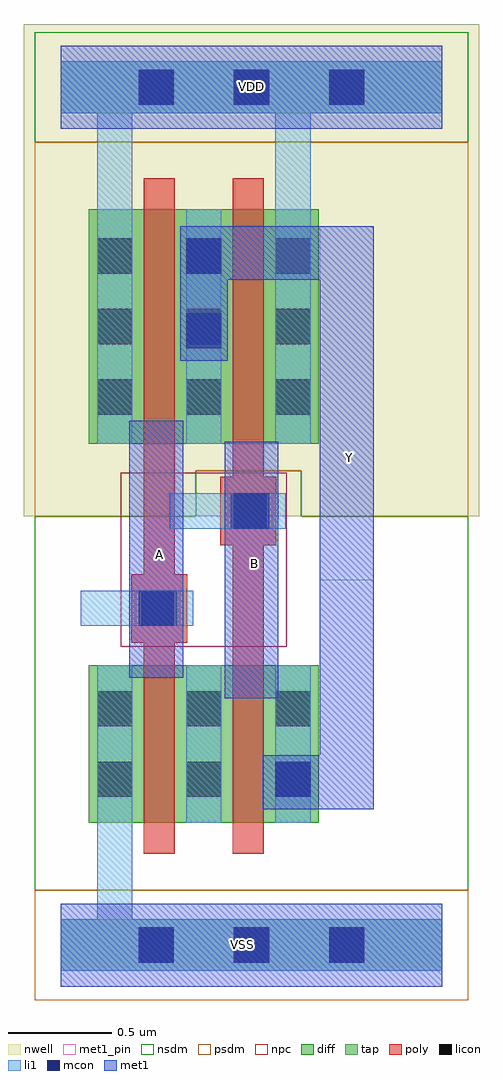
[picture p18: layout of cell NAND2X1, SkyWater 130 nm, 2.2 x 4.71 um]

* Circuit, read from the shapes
.subckt NAND2X1 A B VDD VSS Y
XM1 n1 A VSS VSS sky130_fd_pr__nfet_01v8 w=0.76 l=0.15
XM2 Y B n1 VSS sky130_fd_pr__nfet_01v8 w=0.76 l=0.15
XM3 Y A VDD VDD sky130_fd_pr__pfet_01v8 w=1.13 l=0.15
XM4 VDD B Y VDD sky130_fd_pr__pfet_01v8 w=1.13 l=0.15
.ends

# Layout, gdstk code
from math import pi, radians
import gdstk
lib = gdstk.Library(unit=1e-6, precision=1e-09)
def R(c, l, rs):  # rectangles x0, y0, x1, y1
    for r in rs: c.add(gdstk.rectangle(r[:2], r[2:], *l))
def A(c, l, x, y, w, h, nx, ny, dx, dy):  # array of equal rectangles
    R(c, l, [(x+i*dx, y+j*dy, x+i*dx+w, y+j*dy+h) for i in range(nx) for j in range(ny)])
def P(c, l, *ps):  # polygons
    for p in ps: c.add(gdstk.Polygon(p, *l))
nwell = (64, 20)
diff = (65, 20)
tap = (65, 44)
poly = (66, 20)
licon = (66, 44)
li1 = (67, 20)
mcon = (67, 44)
met1_pin = (68, 16)
met1 = (68, 20)
nsdm = (93, 44)
psdm = (94, 20)
npc = (95, 20)

l1m1_c_cdns_750710154092 = lib.new_cell('L1M1_C_CDNS_7507101540921')
R(l1m1_c_cdns_750710154092, li1, [(-0.085,-0.165,0.085,0.165)])
R(l1m1_c_cdns_750710154092, mcon, [(-0.085,-0.085,0.085,0.085)])
R(l1m1_c_cdns_750710154092, met1, [(-0.145,-0.145,0.115,0.115)])

l1m1_c_cdns_750710154094 = lib.new_cell('L1M1_C_CDNS_750710154094')
R(l1m1_c_cdns_750710154094, li1, [(-0.085,-0.345,0.085,0.345)])
R(l1m1_c_cdns_750710154094, mcon, [(-0.085,-0.265,0.085,-0.095), (-0.085,0.095,0.085,0.265)])
R(l1m1_c_cdns_750710154094, met1, [(-0.115,-0.325,0.115,0.325)])

pyl1con_c_cdns_750710154 = lib.new_cell('PYL1CON_C_CDNS_750710154092')
R(pyl1con_c_cdns_750710154, poly, [(-0.135,-0.165,0.135,0.165)])
R(pyl1con_c_cdns_750710154, licon, [(-0.085,-0.085,0.085,0.085)])
R(pyl1con_c_cdns_750710154, npc, [(-0.185,-0.185,0.185,0.185)])

l1m1_c_cdns_750710154090 = lib.new_cell('L1M1_C_CDNS_750710154090')
R(l1m1_c_cdns_750710154090, li1, [(-0.165,-0.085,0.165,0.085)])
R(l1m1_c_cdns_750710154090, mcon, [(-0.085,-0.085,0.085,0.085)])
R(l1m1_c_cdns_750710154090, met1, [(-0.115,-0.145,0.115,0.145)])

nand2x1 = lib.new_cell('NAND2X1')
R(nand2x1, nwell, [(-0.18,2.07,2.02,4.305), (-0.045,2.24,0.955,3.73), (0.595,2.24,1.425,3.73), (-0.18,3.875,2.02,4.445)])
R(nand2x1, diff, [(0.135,0.59,0.4,1.35), (0.4,0.59,0.55,1.35), (0.55,0.59,0.775,1.35), (0.775,0.59,0.83,1.35), (0.83,0.59,0.98,1.35), (0.98,0.59,1.245,1.35), (0.135,2.42,0.4,3.55), (0.4,2.42,0.55,3.55), (0.55,2.42,0.775,3.55), (0.775,2.42,0.83,3.55), (0.83,2.42,0.98,3.55), (0.98,2.42,1.245,3.55)])
R(nand2x1, poly, [(0.4,0.44,0.55,0.495), (0.83,0.44,0.98,0.495), (0.4,0.495,0.55,0.59), (0.83,0.495,0.98,0.59), (0.4,0.59,0.55,1.35), (0.83,0.59,0.98,1.35), (0.4,1.35,0.55,1.445), (0.83,1.35,0.98,1.445), (0.4,1.445,0.55,1.5), (0.83,1.445,0.98,1.5), (0.4,2.27,0.55,2.325), (0.83,2.27,0.98,2.325), (0.4,2.325,0.55,2.42), (0.83,2.325,0.98,2.42), (0.4,2.42,0.55,3.55), (0.83,2.42,0.98,3.55), (0.4,3.55,0.55,3.645), (0.83,3.55,0.98,3.645), (0.4,3.645,0.55,3.7), (0.83,3.645,0.98,3.7)])
A(nand2x1, licon, 0.375, -0.085, 0.17, 0.17, 3, 2, 0.46, 4.14)
A(nand2x1, licon, 0.175, 0.715, 0.17, 0.17, 3, 2, 0.43, 0.34)
A(nand2x1, licon, 0.175, 2.56, 0.17, 0.17, 3, 3, 0.43, 0.34)
A(nand2x1, li1, 0.175, 2.42, 0.17, 1.13, 3, 1, 0.43, 0)
R(nand2x1, li1, [(0.175,0.59,0.345,1.35), (1.035,0.59,1.205,1.35)])
A(nand2x1, mcon, 0.375, -0.085, 0.17, 0.17, 3, 2, 0.46, 4.14)
R(nand2x1, met1_pin, [(0.79,1.19,1.05,2.43), (0.33,1.29,0.59,2.53), (1.25,1.76,1.51,3.47)])
R(nand2x1, nsdm, [(-0.005,0.46,0.785,1.48), (0.765,0.46,1.385,1.48), (-0.125,3.875,1.965,4.405), (-0.125,3.93,1.965,4.35)])
P(nand2x1, nsdm, [(1.965,2.07),(1.16,2.07),(1.16,2.29),(0.65,2.29),(0.65,2.07),(-0.125,2.07),(-0.125,0.265),(1.965,0.265)])
R(nand2x1, psdm, [(-0.125,-0.265,1.965,0.265), (-0.125,-0.21,1.965,0.21), (-0.005,2.29,0.785,3.68), (0.765,2.29,1.385,3.68)])
P(nand2x1, psdm, [(1.965,3.875),(-0.125,3.875),(-0.125,2.07),(0.65,2.07),(0.65,2.29),(1.16,2.29),(1.16,2.07),(1.965,2.07)])
R(nand2x1, npc, [(0.29,1.44,1.09,2.28)])
nand2x1.add(gdstk.FlexPath([(0.905,2.27),(0.905,1.5)], 0.15, ends="flush", simple_path=True, layer=66, datatype=20))  # poly
nand2x1.add(gdstk.FlexPath([(0.475,1.5),(0.475,2.27)], 0.15, ends="flush", simple_path=True, layer=66, datatype=20))  # poly
nand2x1.add(gdstk.FlexPath([(0.69,1.35),(0.69,0.59)], 0.17, ends="flush", simple_path=True, layer=67, datatype=20))  # li1
nand2x1.add(gdstk.FlexPath([(0,0),(1.84,0)], 0.25, ends="flush", simple_path=True, layer=67, datatype=20))  # li1
nand2x1.add(gdstk.FlexPath([(0.26,0),(0.215,0)], 0.17, ends=(0.085, 0), simple_path=True, layer=67, datatype=20))  # li1
nand2x1.add(gdstk.FlexPath([(0.26,3.55),(0.26,4.14)], 0.17, ends=(0, 0.125), simple_path=True, layer=67, datatype=20))  # li1
nand2x1.add(gdstk.FlexPath([(0,4.14),(1.84,4.14)], 0.25, ends="flush", simple_path=True, layer=67, datatype=20))  # li1
nand2x1.add(gdstk.FlexPath([(1.12,3.55),(1.12,4.14)], 0.17, ends=(0, 0.125), simple_path=True, layer=67, datatype=20))  # li1
nand2x1.add(gdstk.FlexPath([(0.26,0.59),(0.26,0)], 0.17, ends=(0, 0.085), simple_path=True, layer=67, datatype=20))  # li1
nand2x1.add(gdstk.FlexPath([(0.525,2.095),(1.07,2.095)], 0.17, ends="flush", simple_path=True, layer=67, datatype=20))  # li1
nand2x1.add(gdstk.FlexPath([(0.095,1.625),(0.64,1.625)], 0.17, ends="flush", simple_path=True, layer=67, datatype=20))  # li1
nand2x1.add(gdstk.FlexPath([(1.12,4.14),(0.215,4.14)], 0.17, ends=(0.085, 0), simple_path=True, layer=67, datatype=20))  # li1
nand2x1.add(gdstk.FlexPath([(1.235,0.785),(1.38,0.785)], 0.26, ends=(0, 0.13), simple_path=True, layer=68, datatype=20))  # met1
nand2x1.add(gdstk.FlexPath([(1.38,0.785),(1.38,3.34)], 0.26, ends="extended", simple_path=True, layer=68, datatype=20))  # met1
nand2x1.add(gdstk.FlexPath([(0.46,1.29),(0.46,2.53)], 0.26, ends="flush", simple_path=True, layer=68, datatype=20))  # met1
nand2x1.add(gdstk.FlexPath([(0,0),(1.84,0)], 0.4, ends="flush", simple_path=True, layer=68, datatype=20))  # met1
nand2x1.add(gdstk.FlexPath([(0,4.14),(1.84,4.14)], 0.4, ends="flush", simple_path=True, layer=68, datatype=20))  # met1
nand2x1.add(gdstk.FlexPath([(0.92,2.43),(0.92,1.19)], 0.26, ends="flush", simple_path=True, layer=68, datatype=20))  # met1
nand2x1.add(gdstk.FlexPath([(1.38,3.34),(0.805,3.34)], 0.26, ends=(0.13, 0), simple_path=True, layer=68, datatype=20))  # met1
nand2x1.add(gdstk.FlexPath([(0,4.14),(1.84,4.14)], 0.4, ends="flush", simple_path=True, layer=68, datatype=16))  # met1_pin
nand2x1.add(gdstk.FlexPath([(0,0),(1.84,0)], 0.4, ends="flush", simple_path=True, layer=68, datatype=16))  # met1_pin
nand2x1.add(gdstk.FlexPath([(0,0),(1.84,0)], 0.25, ends="flush", simple_path=True, layer=65, datatype=44))  # tap
nand2x1.add(gdstk.FlexPath([(0,4.14),(1.84,4.14)], 0.25, ends="flush", simple_path=True, layer=65, datatype=44))  # tap
nand2x1.add(gdstk.Reference(l1m1_c_cdns_750710154092, (1.12,0.8)))
nand2x1.add(gdstk.Reference(l1m1_c_cdns_750710154094, (0.69,3.145)))
nand2x1.add(gdstk.Reference(pyl1con_c_cdns_750710154, (0.475,1.625), rotation=pi, x_reflection=True))
nand2x1.add(gdstk.Reference(pyl1con_c_cdns_750710154, (0.905,2.095), rotation=pi, x_reflection=True))
nand2x1.add(gdstk.Reference(l1m1_c_cdns_750710154090, (0.92,2.095)))
nand2x1.add(gdstk.Reference(l1m1_c_cdns_750710154090, (0.46,1.625), x_reflection=True))
nand2x1.add(gdstk.Label('VSS', (0.875,0.005), layer=68, texttype=5))
nand2x1.add(gdstk.Label('VDD', (0.92,4.145), layer=68, texttype=5))
nand2x1.add(gdstk.Label('B', (0.935,1.84), layer=68, texttype=5))
nand2x1.add(gdstk.Label('A', (0.475,1.885), layer=68, texttype=5))
nand2x1.add(gdstk.Label('Y', (1.395,2.355), layer=68, texttype=5))

lib.write_gds('NAND2X1.gds')
